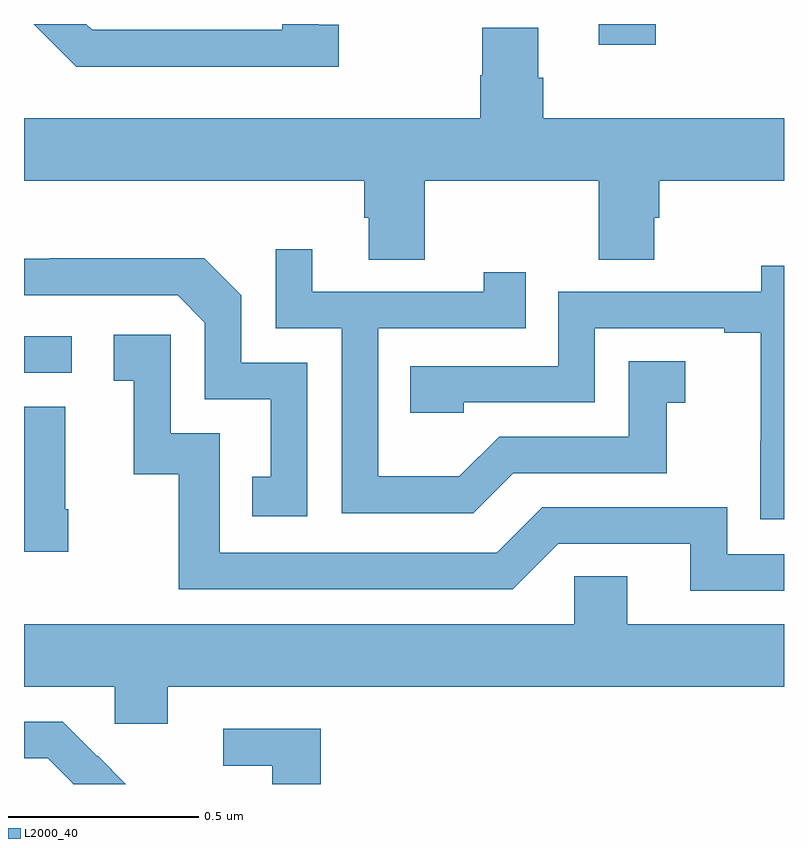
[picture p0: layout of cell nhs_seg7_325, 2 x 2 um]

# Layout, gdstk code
import gdstk
lib = gdstk.Library(unit=1e-6, precision=1e-09)
def R(c, l, rs):  # rectangles x0, y0, x1, y1
    for r in rs: c.add(gdstk.rectangle(r[:2], r[2:], *l))
def P(c, l, *ps):  # polygons
    for p in ps: c.add(gdstk.Polygon(p, *l))
L2000_40 = (2000, 40)

nhs_seg7_325 = lib.new_cell('nhs_seg7_325')
R(nhs_seg7_325, L2000_40, [(115,1028.082,115.126,1028.178), (116.513,1028.946,116.662,1029)])
P(nhs_seg7_325, L2000_40, [(115.828,1028.998),(115.776,1028.998),(115.776,1029),(115.679,1029),(115.679,1028.985),(115.179,1028.985),(115.164,1029),(115.026,1029),(115.138,1028.888),(115.828,1028.888)],
  [(116.055,1028.588),(116.512,1028.588),(116.512,1028.38),(116.659,1028.38),(116.659,1028.49),(116.672,1028.49),(116.672,1028.588),(117,1028.588),(117,1028.752),(116.366,1028.752),(116.366,1028.858),(116.353,1028.858),(116.353,1028.99),(116.206,1028.99),(116.206,1028.865),(116.201,1028.865),(116.201,1028.752),(115,1028.752),(115,1028.588),(115.895,1028.588),(115.895,1028.49),(115.907,1028.49),(115.907,1028.38),(116.055,1028.38)],
  [(116.287,1027.818),(116.691,1027.818),(116.691,1028.003),(116.74,1028.003),(116.74,1028.113),(116.592,1028.113),(116.592,1027.914),(116.25,1027.914),(116.146,1027.81),(115.932,1027.81),(115.932,1028.199),(116.321,1028.199),(116.321,1028.347),(116.21,1028.347),(116.21,1028.295),(115.759,1028.295),(115.759,1028.407),(115.662,1028.407),(115.662,1028.199),(115.836,1028.199),(115.836,1027.713),(116.182,1027.713)],
  [(115.746,1028.109),(115.572,1028.109),(115.572,1028.286),(115.474,1028.384),(115.066,1028.384),(115.066,1028.382),(115,1028.382),(115,1028.286),(115.404,1028.286),(115.476,1028.214),(115.476,1028.013),(115.649,1028.013),(115.649,1027.809),(115.6,1027.809),(115.6,1027.704),(115.746,1027.704)],
  [(117,1028.364),(116.94,1028.364),(116.94,1028.295),(116.406,1028.295),(116.406,1028.1),(116.017,1028.1),(116.017,1027.977),(116.157,1027.977),(116.157,1028.004),(116.502,1028.004),(116.502,1028.199),(116.843,1028.199),(116.843,1028.187),(116.939,1028.187),(116.939,1027.903),(116.938,1027.903),(116.938,1027.697),(117,1027.697)],
  [(117,1027.605),(116.85,1027.605),(116.85,1027.728),(116.364,1027.728),(116.244,1027.608),(115.515,1027.608),(115.515,1027.923),(115.386,1027.923),(115.386,1028.182),(115.236,1028.182),(115.236,1028.061),(115.289,1028.061),(115.289,1027.815),(115.407,1027.815),(115.407,1027.512),(116.286,1027.512),(116.406,1027.632),(116.753,1027.632),(116.753,1027.509),(117,1027.509)],
  [(115.116,1027.723),(115.108,1027.723),(115.108,1027.993),(115,1027.993),(115,1027.611),(115.116,1027.611)],
  [(115.378,1027.256),(117,1027.256),(117,1027.42),(116.587,1027.42),(116.587,1027.547),(116.448,1027.547),(116.448,1027.42),(115,1027.42),(115,1027.256),(115.239,1027.256),(115.239,1027.158),(115.378,1027.158)],
  [(115.194,1027.074),(115.193,1027.073),(115.102,1027.164),(115,1027.164),(115,1027.068),(115.063,1027.068),(115.125,1027.005),(115.13,1027),(115.268,1027)],
  [(115.781,1027.146),(115.524,1027.146),(115.524,1027.048),(115.653,1027.048),(115.653,1027),(115.781,1027)])

lib.write_gds('nhs_seg7_325.gds')
